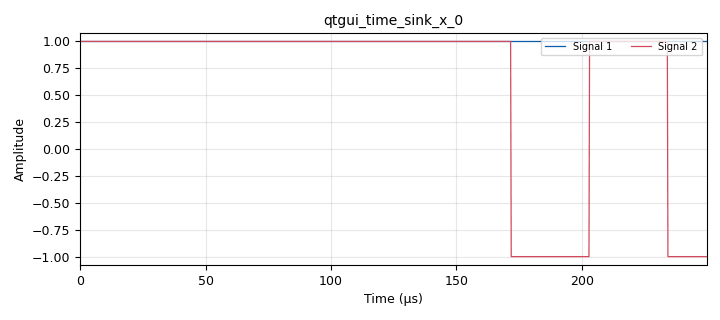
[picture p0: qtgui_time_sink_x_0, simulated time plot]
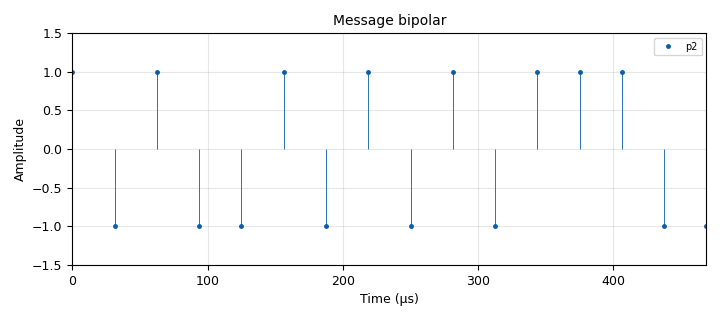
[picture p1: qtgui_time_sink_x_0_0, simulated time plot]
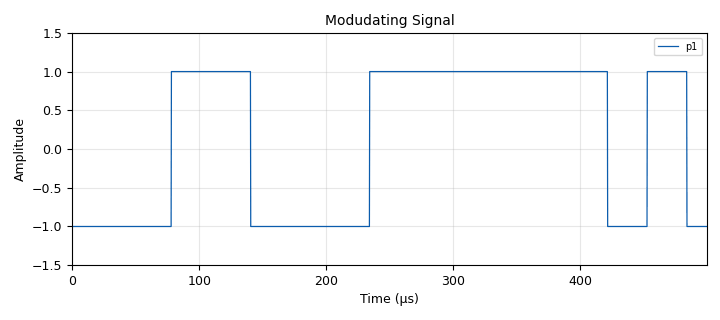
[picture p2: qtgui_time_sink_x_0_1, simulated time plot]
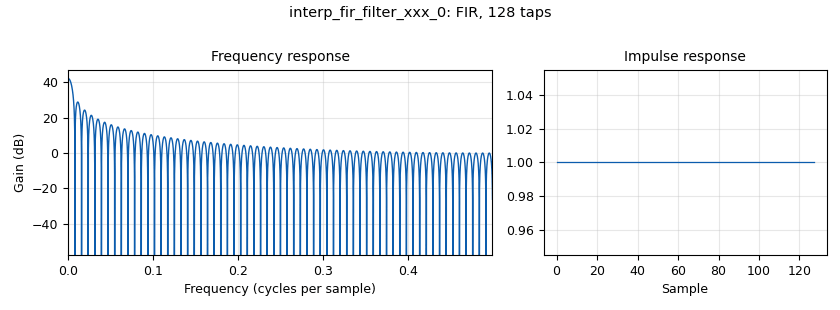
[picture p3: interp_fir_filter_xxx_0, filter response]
options:
  parameters:
    author: radiogis_director
    generate_options: qt_gui
    id: ook
    output_language: python
    title: ook
  states: {}

blocks:
- name: Rb
  id: variable
  parameters:
    value: '32000'
  states: {}
- name: Sps
  id: variable
  parameters:
    value: '128'
  states: {}
- name: fc
  id: variable_qtgui_range
  parameters:
    gui_hint: 0,0,1,1
    label: 'Carrier Freq. '
    start: '0'
    step: samp_rate/1000
    stop: samp_rate/8
    value: Rb*4
  states: {}
- name: fd
  id: variable_qtgui_range
  parameters:
    gui_hint: 0,1,1,1
    label: Deviation Freq
    start: '0'
    step: samp_rate/1000
    stop: samp_rate/8
    value: Rb
  states: {}
- name: h
  id: variable
  parameters:
    value: '[1]*Sps'
  states: {}
- name: samp_rate
  id: variable
  parameters:
    value: Rb*Sps
  states: {}
- name: Menu
  id: qtgui_tab_widget
  parameters:
    gui_hint: 4,0,1,2
    label0: Message
    label1: RF Modulated. Time Domain
    label2: RF Modulated. Freq Domain
    label3: Constellation
    num_tabs: '4'
  states: {}
- name: analog_const_source_x_0
  id: analog_const_source_x
  parameters:
    const: '1'
    type: float
  states: {}
- name: analog_const_source_x_1
  id: analog_const_source_x
  parameters:
    const: '0'
    type: float
  states: {state: disabled}
- name: analog_random_source_x_0
  id: analog_random_source_x
  parameters:
    max: '2'
    min: '0'
    num_samps: '1000000'
    repeat: 'True'
    type: byte
  states: {}
- name: blocks_add_const_vxx_0
  id: blocks_add_const_vxx
  parameters:
    const: '-0.5'
    type: float
  states: {}
- name: blocks_char_to_float_0
  id: blocks_char_to_float
  parameters:
    scale: '1'
  states: {}
- name: blocks_float_to_complex_0
  id: blocks_float_to_complex
  parameters: {}
  states: {state: disabled}
- name: blocks_multiply_const_vxx_0
  id: blocks_multiply_const_vxx
  parameters:
    const: 2*math.pi*fd/(Rb*Sps)
    type: float
  states: {state: disabled}
- name: blocks_multiply_const_vxx_0_0
  id: blocks_multiply_const_vxx
  parameters:
    const: '2'
    type: float
  states: {}
- name: blocks_multiply_const_vxx_0_1
  id: blocks_multiply_const_vxx
  parameters:
    const: math.pi
    type: float
  states: {state: disabled}
- name: blocks_multiply_const_vxx_0_2
  id: blocks_multiply_const_vxx
  parameters:
    const: '1'
    type: float
  states: {}
- name: epy_block_0
  id: epy_block
  parameters:
    _source_code: "import numpy as np\nfrom gnuradio import gr\nimport math\n\nclass blk(gr.sync_block):  \n    \"\"\"This block is a RF VCO and works as following: the general property 'fc' defines the central frequency of the sinusoidal carrier signal and the configuration 'samp_rate' is used to choose the number of samples per second to calculate.\n      It has 2 inputs the first one configures the VCO's amplitud and the second the frequency deviation. The output is an amplitude or frequency modulated signal in the form of: input1*cos(2*pi*fc+input2).\n      Example: To design an amplitude modulation use a constant (example 1) for the second input 'frequency deviation' to avoid frequency variation and in the first input the message to modulate, it can be a streaming signal as [1 0 0 1 ...].\"\"\"\n\n    def __init__(self, fc=128000, samp_rate=320000):  \n        gr.sync_block.__init__(\n            self,\n            name='e_RF_VCO_ff',   \n            in_sig=[np.float32, np.float32],\n            out_sig=[np.float32]\n        )\n        self.fc = fc\n        self.samp_rate = samp_rate\n        self.n_m=0\n\n    def work(self, input_items, output_items):\n        A=input_items[0]\n        Q=input_items[1]\n        y=output_items[0]\n        N=len(A)\n        n=np.linspace(self.n_m,self.n_m+N-1,N)\n        self.n_m += N\n        y[:]=A*np.cos(2*math.pi*self.fc*n/self.samp_rate+Q)\n        return len(output_items[0])\n\n\n"
    fc: fc
    samp_rate: samp_rate
  states: {state: disabled}
- name: epy_block_0_0
  id: epy_block
  parameters:
    _source_code: |
      import numpy as np
      from gnuradio import gr
      import math

      class blk(gr.sync_block):  
          """This block is a CE VCO or baseband VCO and works as following: it only has 2 inputs, the first one is used to define the amplitude of the exponential function and the second specifies the value which multiplies the exponent by j (the imaginary number).
          The output is a complex signal with the form: input_1*e^(j*input_2).
          To design a modulation which uses the real and imaginary domain is recommended to keep the amplitud as a constant and send the message in the exponent of the function."""

          def __init__(self,):  
              gr.sync_block.__init__(
                  self,
                  name='e_CE_VCO_fc',   
                  in_sig=[np.float32, np.float32],
                  out_sig=[np.complex64]
              )
              
          def work(self, input_items, output_items):
              A=input_items[0]
              Q=input_items[1]
              y=output_items[0]
              N=len(A)
              y[:]=A*np.exp(1j*Q)
              return len(output_items[0])
  states: {state: disabled}
- name: epy_block_0_1
  id: epy_block
  parameters:
    _source_code: |
      """
      Embedded Python Blocks:

      Each time this file is saved, GRC will instantiate the first class it finds
      to get ports and parameters of your block. The arguments to __init__  will
      be the parameters. All of them are required to have default values!
      """

      import numpy as np
      from gnuradio import gr


      class blk(gr.sync_block):  # other base classes are basic_block, decim_block, interp_block
          """Embedded Python Block example - a simple multiply const"""

          def __init__(self,):  # only default arguments here
              """arguments to this function show up as parameters in GRC"""
              gr.sync_block.__init__(
                  self,
                  name='e_Acum',   # will show up in GRC
                  in_sig=[np.float32],
                  out_sig=[np.float32]
              )
              self.acum=0
              
          def work(self, input_items, output_items):
              x=input_items[0]
              y= output_items[0]


              y[:]=self.acum+np.cumsum(x)
              self.acum=y[-1]
              return len(y)
  states: {state: disabled}
- name: epy_block_1
  id: epy_block
  parameters:
    _source_code: "\n\nimport numpy as np\nfrom gnuradio import gr\nimport math\n\nclass blk(gr.sync_block):  # other base classes are basic_block, decim_block, interp_block\n\n    def __init__(self):  # only default arguments here\n        \"\"\"arguments to this function show up as parameters in GRC\"\"\"\n        gr.sync_block.__init__(\n            self,\n            name='VCO_RF',   \n            in_sig=[np.float32, np.float32],\n            out_sig=[np.float32]\n        )\n       \n\n    def work(self, input_items, output_items):\n        A=input_items[0]\n        Q=input_items[1]\n        y=output_items[0]\n        y[:]=A*np.cos(2*math.pi*Q)\n        return len(output_items[0])\n"
  states: {}
- name: import_0
  id: import
  parameters:
    imports: import math
  states: {}
- name: import_0_0
  id: import
  parameters:
    imports: import numpy as np
  states: {}
- name: interp_fir_filter_xxx_0
  id: interp_fir_filter_xxx
  parameters:
    interp: Sps
    taps: h
    type: fff
  states: {}
- name: qtgui_const_sink_x_0
  id: qtgui_const_sink_x
  parameters:
    gui_hint: Menu@3:3,1,1,1
    name: '"CE-Constellation"'
    size: '1024'
    type: complex
    width1: '8'
  states: {state: disabled}
- name: qtgui_freq_sink_x_0
  id: qtgui_freq_sink_x
  parameters:
    average: '0.05'
    bw: samp_rate
    fc: '0'
    fftsize: 1024*8
    gui_hint: Menu@2:2,1,1,1
    label1: RF Modulated Signal
    type: float
    width1: '2'
    ymax: '-35'
    ymin: '-65'
  states: {state: disabled}
- name: qtgui_freq_sink_x_0_0
  id: qtgui_freq_sink_x
  parameters:
    average: '0.05'
    bw: samp_rate
    fc: '0'
    fftsize: 1024*8
    gui_hint: Menu@2:3,1,1,1
    label1: CE-Modulated Signal
    type: complex
    width1: '2'
    ymax: '-35'
    ymin: '-65'
  states: {state: disabled}
- name: qtgui_time_sink_x_0
  id: qtgui_time_sink_x
  parameters:
    nconnections: '2'
    size: '1024'
    srate: samp_rate
    type: float
  states: {}
- name: qtgui_time_sink_x_0_0
  id: qtgui_time_sink_x
  parameters:
    gui_hint: Menu@0:3,1,1,1
    label1: p2
    marker1: '0'
    name: '"Message bipolar"'
    size: '16'
    srate: Rb
    stemplot: 'True'
    type: float
    width1: '3'
    ymax: '1.5'
    ymin: '-1.5'
  states: {}
- name: qtgui_time_sink_x_0_1
  id: qtgui_time_sink_x
  parameters:
    gui_hint: Menu@0:4,1,1,1
    label1: p1
    name: Modudating Signal
    size: 16*Sps
    srate: samp_rate
    type: float
    width1: '3'
    ymax: '1.5'
    ymin: '-1.5'
  states: {}
- name: qtgui_time_sink_x_0_1_0
  id: qtgui_time_sink_x
  parameters:
    gui_hint: Menu@1:2,1,1,1
    label1: Modulating Signal
    label2: RF Modulated signal
    name: Modulating versus RF Modulated Signal
    nconnections: '2'
    size: 16*Sps
    srate: samp_rate
    type: float
    width1: '4'
    width2: '2'
    ymax: '1.5'
    ymin: '-1.5'
  states: {state: disabled}
- name: qtgui_time_sink_x_0_1_0_0
  id: qtgui_time_sink_x
  parameters:
    gui_hint: Menu@1:3,1,1,1
    label1: I-Signal
    label2: Q-signal
    name: CE Modulated Signal
    nconnections: '2'
    size: 16*Sps
    srate: samp_rate
    type: complex
    width1: '2'
    width2: '2'
    ymax: '1.5'
    ymin: '-1.5'
  states: {state: disabled}
- name: virtual_sink_0_0
  id: virtual_sink
  parameters:
    stream_id: p2
  states: {}
- name: virtual_sink_0_0_0
  id: virtual_sink
  parameters:
    stream_id: p3
  states: {}
- name: virtual_sink_0_0_0_0
  id: virtual_sink
  parameters:
    stream_id: p4
  states: {state: disabled}
- name: virtual_sink_0_0_0_0_0
  id: virtual_sink
  parameters:
    stream_id: p4b
  states: {state: disabled}
- name: virtual_source_0
  id: virtual_source
  parameters:
    stream_id: p3
  states: {}
- name: virtual_source_0_0
  id: virtual_source
  parameters:
    stream_id: p2
  states: {}
- name: virtual_source_0_1
  id: virtual_source
  parameters:
    stream_id: p3
  states: {}
- name: virtual_source_0_1_0
  id: virtual_source
  parameters:
    stream_id: p4
  states: {state: disabled}
- name: virtual_source_0_1_0_0
  id: virtual_source
  parameters:
    stream_id: p4b
  states: {state: disabled}
- name: virtual_source_0_1_0_1
  id: virtual_source
  parameters:
    stream_id: p3
  states: {state: disabled}

connections:
- [analog_const_source_x_0, '0', epy_block_0, '0']
- [analog_const_source_x_0, '0', epy_block_0_0, '0']
- [analog_const_source_x_0, '0', epy_block_1, '0']
- [analog_const_source_x_1, '0', blocks_float_to_complex_0, '1']
- [analog_random_source_x_0, '0', blocks_char_to_float_0, '0']
- [blocks_add_const_vxx_0, '0', blocks_multiply_const_vxx_0_0, '0']
- [blocks_char_to_float_0, '0', blocks_add_const_vxx_0, '0']
- [blocks_float_to_complex_0, '0', qtgui_time_sink_x_0_1_0_0, '1']
- [blocks_multiply_const_vxx_0, '0', epy_block_0, '1']
- [blocks_multiply_const_vxx_0, '0', epy_block_0_0, '1']
- [blocks_multiply_const_vxx_0, '0', epy_block_1, '0']
- [blocks_multiply_const_vxx_0_0, '0', interp_fir_filter_xxx_0, '0']
- [blocks_multiply_const_vxx_0_0, '0', virtual_sink_0_0, '0']
- [blocks_multiply_const_vxx_0_2, '0', epy_block_1, '1']
- [epy_block_0, '0', virtual_sink_0_0_0_0, '0']
- [epy_block_0_0, '0', virtual_sink_0_0_0_0_0, '0']
- [epy_block_0_1, '0', blocks_multiply_const_vxx_0, '0']
- [epy_block_0_1, '0', blocks_multiply_const_vxx_0_2, '0']
- [epy_block_1, '0', qtgui_time_sink_x_0, '0']
- [interp_fir_filter_xxx_0, '0', blocks_multiply_const_vxx_0_2, '0']
- [interp_fir_filter_xxx_0, '0', epy_block_0_1, '0']
- [interp_fir_filter_xxx_0, '0', virtual_sink_0_0_0, '0']
- [virtual_source_0, '0', qtgui_time_sink_x_0, '1']
- [virtual_source_0_0, '0', qtgui_time_sink_x_0_0, '0']
- [virtual_source_0_1, '0', qtgui_time_sink_x_0_1, '0']
- [virtual_source_0_1, '0', qtgui_time_sink_x_0_1_0, '0']
- [virtual_source_0_1_0, '0', qtgui_freq_sink_x_0, '0']
- [virtual_source_0_1_0, '0', qtgui_time_sink_x_0_1_0, '1']
- [virtual_source_0_1_0_0, '0', qtgui_const_sink_x_0, '0']
- [virtual_source_0_1_0_0, '0', qtgui_freq_sink_x_0_0, '0']
- [virtual_source_0_1_0_0, '0', qtgui_time_sink_x_0_1_0_0, '0']
- [virtual_source_0_1_0_1, '0', blocks_float_to_complex_0, '0']

metadata:
  file_format: 1
